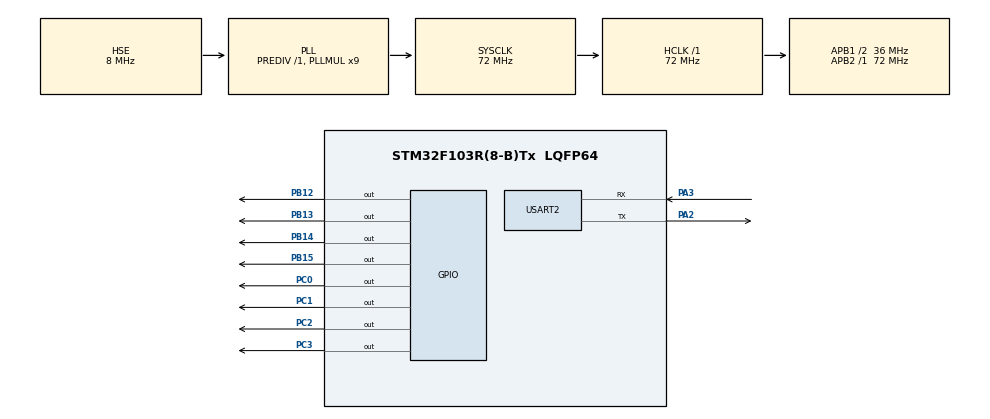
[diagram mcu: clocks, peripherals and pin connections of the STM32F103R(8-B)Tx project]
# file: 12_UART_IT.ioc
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Mcu.Family=STM32F1
Mcu.Name=STM32F103R(8-B)Tx
Mcu.Package=LQFP64
NVIC.PriorityGroup=NVIC_PRIORITYGROUP_4
NVIC.USART2_IRQn=true\:0\:0\:false\:false\:true\:true\:true\:true
PA2.Mode=Asynchronous
PA2.Signal=USART2_TX
PA3.Mode=Asynchronous
PA3.Signal=USART2_RX
PB12.Signal=GPIO_Output
PB13.Signal=GPIO_Output
PB14.Signal=GPIO_Output
PB15.Signal=GPIO_Output
PC0.Signal=GPIO_Output
PC1.Signal=GPIO_Output
PC14-OSC32_IN.Mode=LSE-External-Oscillator
PC14-OSC32_IN.Signal=RCC_OSC32_IN
PC15-OSC32_OUT.Mode=LSE-External-Oscillator
PC15-OSC32_OUT.Signal=RCC_OSC32_OUT
PC2.Signal=GPIO_Output
PC3.Signal=GPIO_Output
PD0-OSC_IN.Mode=HSE-External-Clock-Source
PD0-OSC_IN.Signal=RCC_OSC_IN
PD1-OSC_OUT.Mode=HSE-External-Clock-Source
PD1-OSC_OUT.Signal=RCC_OSC_OUT
ProjectManager.HeapSize=0x200
ProjectManager.StackSize=0x400
ProjectManager.TargetToolchain=STM32CubeIDE
RCC.AHBFreq_Value=72000000
RCC.APB1CLKDivider=RCC_HCLK_DIV2
RCC.APB1Freq_Value=36000000
RCC.APB1TimFreq_Value=72000000
RCC.APB2Freq_Value=72000000
RCC.APB2TimFreq_Value=72000000
RCC.HCLKFreq_Value=72000000
RCC.PLLMUL=RCC_PLL_MUL9
RCC.PLLSourceVirtual=RCC_PLLSOURCE_HSE
RCC.SYSCLKFreq_VALUE=72000000
RCC.SYSCLKSource=RCC_SYSCLKSOURCE_PLLCLK
RCC.USBFreq_Value=72000000
USART2.VirtualMode=VM_ASYNC
board=custom

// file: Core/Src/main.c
/* USER CODE BEGIN Header */
/**
  ******************************************************************************
  * @file           : main.c
  * @brief          : Main program body
  ******************************************************************************
  * @attention
  *
  * Copyright (c) 2023 STMicroelectronics.
  * All rights reserved.
  *
  * This software is licensed under terms that can be found in the LICENSE file
  * in the root directory of this software component.
  * If no LICENSE file comes with this software, it is provided AS-IS.
  *
  ******************************************************************************
  */
/* USER CODE END Header */
#include "main.h"

/* USER CODE BEGIN Includes */
#include <stdio.h>
/* USER CODE END Includes */

/* USER CODE BEGIN PD */
#define MODE_A	  1
#define MODE_B	  2
#define MODE_OFF  3
/* USER CODE END PD */

UART_HandleTypeDef huart2;

/* USER CODE BEGIN PV */
volatile uint8_t ambulance_mode;
uint8_t RxBuffer[1];

/* USER CODE END PV */

void SystemClock_Config(void);
static void MX_GPIO_Init(void);
static void MX_USART2_UART_Init(void);

/* USER CODE BEGIN 0 */
int __io_putchar(int ch) {
	HAL_UART_Transmit(&huart2, (uint8_t *)&ch, 1, 100);
	if(ch == '\n') {
		HAL_UART_Transmit(&huart2, (uint8_t *)'/r', 1, 100);
	}
	return ch;
}

void display_menu() {
	printf("\n\n***********************\n");
	printf("Emergency Light Control\n");
	printf("***********************\n\n");
	printf("1. Set to [Ambulance_A] mode\n");
	printf("2. Set to [Ambulance_B] mode\n");
	printf("3. Set to [Off] mode\n");
	printf("4. Inquire current Emergency mode\n\n");
	printf("Type number : ");
	fflush(stdout);
}

typedef struct led {
  GPIO_TypeDef *port;
  uint16_t pin;
   } LED;
LED led[8] = {
  {GPIOC, GPIO_PIN_3},
  {GPIOC, GPIO_PIN_2},
  {GPIOC, GPIO_PIN_1},
  {GPIOC, GPIO_PIN_0},
  {GPIOB, GPIO_PIN_15},
  {GPIOB, GPIO_PIN_14},
  {GPIOB, GPIO_PIN_13},
  {GPIOB, GPIO_PIN_12},
};
void led_all_off() {
  for (uint8_t k = 0; k < 8; k++) {
    HAL_GPIO_WritePin(led[k].port, led[k].pin, GPIO_PIN_RESET);
  }
}
void ambulance_a() {
  for (uint8_t i = 0; i < 4; i++)  {
    HAL_GPIO_WritePin(led[i].port, led[i].pin, GPIO_PIN_SET);
    HAL_GPIO_WritePin(led[i+4].port, led[i+4].pin, GPIO_PIN_RESET);
    }
  HAL_Delay(500);
  if (ambulance_mode == MODE_B || ambulance_mode == MODE_OFF) {
    led_all_off();
    return;
  }
  for (uint8_t j = 0; j < 4; j++)  {
    HAL_GPIO_WritePin(led[j].port, led[j].pin, GPIO_PIN_RESET);
    HAL_GPIO_WritePin(led[j+4].port, led[j+4].pin, GPIO_PIN_SET);
    }
  HAL_Delay(500);
  if (ambulance_mode == MODE_B || ambulance_mode == MODE_OFF) {
    led_all_off();
    return;
  }
}
void ambulance_b() {
  for (uint8_t i = 0; i < 8; i++)  {
    HAL_GPIO_WritePin(led[i].port, led[i].pin, GPIO_PIN_SET);
    HAL_Delay(100);
    HAL_GPIO_WritePin(led[i].port, led[i].pin, GPIO_PIN_RESET);
    HAL_Delay(100);
    if (ambulance_mode == MODE_A || ambulance_mode == MODE_OFF) {
      led_all_off();
      return;
    }
  }
  for (uint8_t j = 6; j > 0; j--)  {
    HAL_GPIO_WritePin(led[j].port, led[j].pin, GPIO_PIN_SET);
    HAL_Delay(100);
    HAL_GPIO_WritePin(led[j].port, led[j].pin, GPIO_PIN_RESET);
    HAL_Delay(100);
    if (ambulance_mode == MODE_A || ambulance_mode == MODE_OFF) {
      led_all_off();
      return;
    }
  }
}
/* USER CODE END 0 */

int main(void)
{

  /* MCU Configuration--------------------------------------------------------*/

  /* Reset of all peripherals, Initializes the Flash interface and the Systick. */
  HAL_Init();

  /* Configure the system clock */
  SystemClock_Config();

  /* Initialize all configured peripherals */
  MX_GPIO_Init();
  MX_USART2_UART_Init();
  /* USER CODE BEGIN 2 */
  display_menu();
  HAL_UART_Receive_IT(&huart2, RxBuffer, 1);
  /* USER CODE END 2 */

  /* Infinite loop */
  /* USER CODE BEGIN WHILE */
  while (1)
  {
	  if (ambulance_mode == MODE_A)
		  ambulance_a();
	  else if (ambulance_mode == MODE_B)
		  ambulance_b();
	  else
		  led_all_off();
    /* USER CODE END WHILE */

  }
}

void SystemClock_Config(void)
{
  RCC_OscInitTypeDef RCC_OscInitStruct = {0};
  RCC_ClkInitTypeDef RCC_ClkInitStruct = {0};

  /** Initializes the RCC Oscillators according to the specified parameters
  * in the RCC_OscInitTypeDef structure.
  */
  RCC_OscInitStruct.OscillatorType = RCC_OSCILLATORTYPE_HSE;
  RCC_OscInitStruct.HSEState = RCC_HSE_BYPASS;
  RCC_OscInitStruct.HSEPredivValue = RCC_HSE_PREDIV_DIV1;
  RCC_OscInitStruct.HSIState = RCC_HSI_ON;
  RCC_OscInitStruct.PLL.PLLState = RCC_PLL_ON;
  RCC_OscInitStruct.PLL.PLLSource = RCC_PLLSOURCE_HSE;
  RCC_OscInitStruct.PLL.PLLMUL = RCC_PLL_MUL9;
  if (HAL_RCC_OscConfig(&RCC_OscInitStruct) != HAL_OK)
  {
    Error_Handler();
  }

  /** Initializes the CPU, AHB and APB buses clocks
  */
  RCC_ClkInitStruct.ClockType = RCC_CLOCKTYPE_HCLK|RCC_CLOCKTYPE_SYSCLK
                              |RCC_CLOCKTYPE_PCLK1|RCC_CLOCKTYPE_PCLK2;
  RCC_ClkInitStruct.SYSCLKSource = RCC_SYSCLKSOURCE_PLLCLK;
  RCC_ClkInitStruct.AHBCLKDivider = RCC_SYSCLK_DIV1;
  RCC_ClkInitStruct.APB1CLKDivider = RCC_HCLK_DIV2;
  RCC_ClkInitStruct.APB2CLKDivider = RCC_HCLK_DIV1;

  if (HAL_RCC_ClockConfig(&RCC_ClkInitStruct, FLASH_LATENCY_2) != HAL_OK)
  {
    Error_Handler();
  }
}

static void MX_USART2_UART_Init(void)
{

  huart2.Instance = USART2;
  huart2.Init.BaudRate = 115200;
  huart2.Init.WordLength = UART_WORDLENGTH_8B;
  huart2.Init.StopBits = UART_STOPBITS_1;
  huart2.Init.Parity = UART_PARITY_NONE;
  huart2.Init.Mode = UART_MODE_TX_RX;
  huart2.Init.HwFlowCtl = UART_HWCONTROL_NONE;
  huart2.Init.OverSampling = UART_OVERSAMPLING_16;
  if (HAL_UART_Init(&huart2) != HAL_OK)
  {
    Error_Handler();
  }

}

static void MX_GPIO_Init(void)
{
  GPIO_InitTypeDef GPIO_InitStruct = {0};

  /* GPIO Ports Clock Enable */
  __HAL_RCC_GPIOC_CLK_ENABLE();
  __HAL_RCC_GPIOD_CLK_ENABLE();
  __HAL_RCC_GPIOA_CLK_ENABLE();
  __HAL_RCC_GPIOB_CLK_ENABLE();

  /*Configure GPIO pin Output Level */
  HAL_GPIO_WritePin(GPIOC, GPIO_PIN_0|GPIO_PIN_1|GPIO_PIN_2|GPIO_PIN_3, GPIO_PIN_RESET);

  /*Configure GPIO pin Output Level */
  HAL_GPIO_WritePin(GPIOB, GPIO_PIN_12|GPIO_PIN_13|GPIO_PIN_14|GPIO_PIN_15, GPIO_PIN_RESET);

  /*Configure GPIO pins : PC0 PC1 PC2 PC3 */
  GPIO_InitStruct.Pin = GPIO_PIN_0|GPIO_PIN_1|GPIO_PIN_2|GPIO_PIN_3;
  GPIO_InitStruct.Mode = GPIO_MODE_OUTPUT_PP;
  GPIO_InitStruct.Pull = GPIO_NOPULL;
  GPIO_InitStruct.Speed = GPIO_SPEED_FREQ_LOW;
  HAL_GPIO_Init(GPIOC, &GPIO_InitStruct);

  /*Configure GPIO pins : PB12 PB13 PB14 PB15 */
  GPIO_InitStruct.Pin = GPIO_PIN_12|GPIO_PIN_13|GPIO_PIN_14|GPIO_PIN_15;
  GPIO_InitStruct.Mode = GPIO_MODE_OUTPUT_PP;
  GPIO_InitStruct.Pull = GPIO_NOPULL;
  GPIO_InitStruct.Speed = GPIO_SPEED_FREQ_LOW;
  HAL_GPIO_Init(GPIOB, &GPIO_InitStruct);

}

/* USER CODE BEGIN 4 */
void HAL_UART_RxCpltCallback(UART_HandleTypeDef *huart)
{
	switch (RxBuffer[0]) {
	    case '1':
	      ambulance_mode = MODE_A;
	      HAL_UART_Transmit(&huart2, RxBuffer, sizeof(RxBuffer), 100);
	      printf("\n\nNow, [Ambulance_A] mode\n");
	      display_menu();
	      break;
	    case '2':
	      ambulance_mode = MODE_B;
	      HAL_UART_Transmit(&huart2, RxBuffer, sizeof(RxBuffer), 100);
	      printf("\n\nNow, [Ambulance_B] mode\n");
	      display_menu();
	      break;
	    case '3':
	       ambulance_mode = MODE_OFF;
	       HAL_UART_Transmit(&huart2, RxBuffer, sizeof(RxBuffer), 100);
	       printf("\n\nNow, [Off] mode\n");
	       display_menu();
	       break;
	     case '4':
	       HAL_UART_Transmit(&huart2, RxBuffer, sizeof(RxBuffer), 100);
	         if (ambulance_mode == MODE_A)
	        	 printf("\n\nCurrent mode is [Ambulance_A] mode\n");
	         else if (ambulance_mode == MODE_B)
	        	 printf("\n\nCurrent mode is [Ambulance_B] mode\n");
	         else
	        	 printf("\n\nCurrent mode is [Off] mode\n");
	         display_menu();
	         break;
	     default :
	       RxBuffer[0] = '\a';
	       HAL_UART_Transmit(&huart2, RxBuffer, sizeof(RxBuffer), 100);
	       printf("\n\nSelect number : 1 ~ 4\n");
	       display_menu();
	       break;
	   }
	   HAL_UART_Receive_IT(&huart2, RxBuffer, 1);
}
/* USER CODE END 4 */

void Error_Handler(void)
{
  __disable_irq();
  while (1)
  {
  }
}
